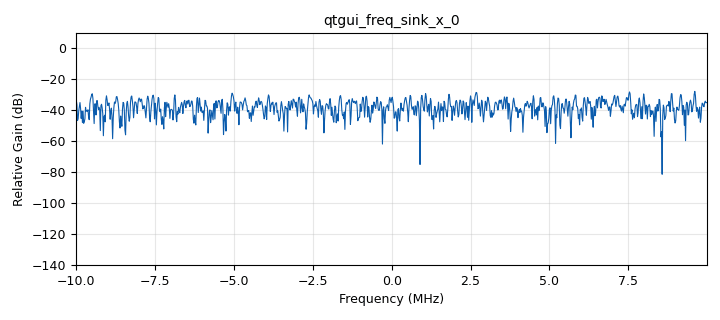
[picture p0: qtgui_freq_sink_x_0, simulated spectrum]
options:
  parameters:
    generate_options: qt_gui
    generator_class_name: PythonQtGuiGenerator
    generator_module: gnuradio.grc.workflows.python_qt_gui
    id: GNU1
    output_language: python
    title: Jamming
  states: {}

blocks:
- name: freq
  id: variable_qtgui_range
  parameters:
    gui_hint: 0,0,1,1
    start: '2400000000'
    step: '1000000'
    stop: '2500000000'
    value: '2422000000'
  states: {}
- name: samp_rate
  id: variable
  parameters:
    value: '20000000'
  states: {}
- name: analog_noise_source_x_0
  id: analog_noise_source_x
  parameters:
    amp: '1'
    noise_type: analog.GR_GAUSSIAN
    seed: '0'
    type: complex
  states: {}
- name: osmosdr_sink_0
  id: osmosdr_sink
  parameters:
    bb_gain0: '40'
    freq0: freq
    gain0: '14'
    if_gain0: '40'
    sample_rate: samp_rate
    sync: none
    type: fc32
  states: {}
- name: qtgui_freq_sink_x_0
  id: qtgui_freq_sink_x
  parameters:
    bw: samp_rate
    fc: '0'
    fftsize: '1024'
    type: complex
  states: {}

connections:
- [analog_noise_source_x_0, '0', osmosdr_sink_0, '0']
- [analog_noise_source_x_0, '0', qtgui_freq_sink_x_0, '0']

metadata:
  file_format: 1
  grc_version: 3.10.12.0
